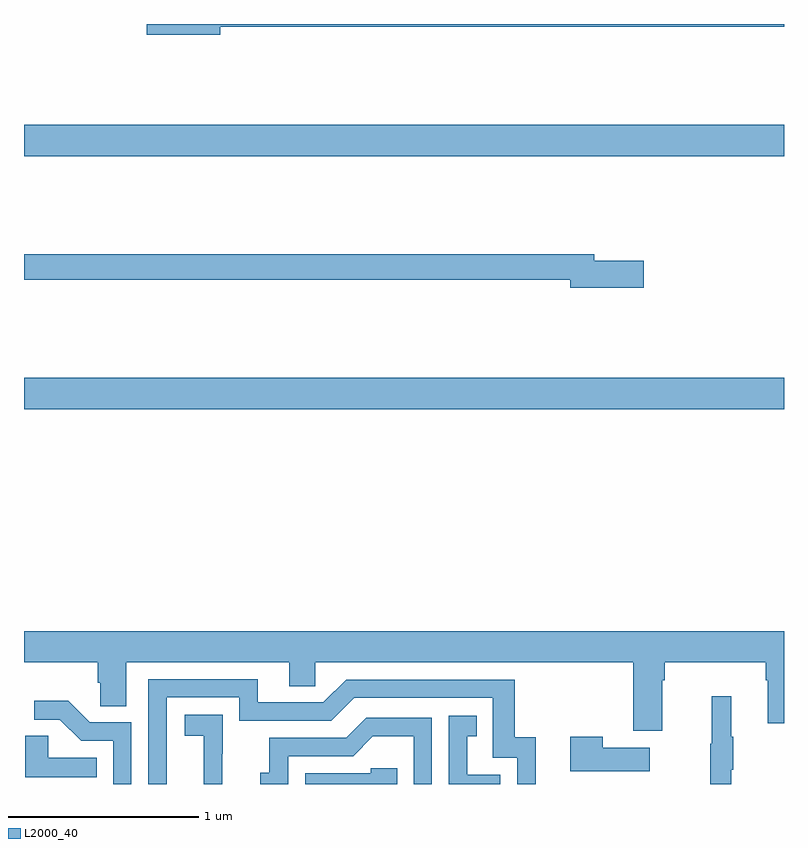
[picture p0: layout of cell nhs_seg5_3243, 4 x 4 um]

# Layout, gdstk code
import gdstk
lib = gdstk.Library(unit=1e-6, precision=1e-09)
def R(c, l, rs):  # rectangles x0, y0, x1, y1
    for r in rs: c.add(gdstk.rectangle(r[:2], r[2:], *l))
def P(c, l, *ps):  # polygons
    for p in ps: c.add(gdstk.Polygon(p, *l))
L2000_40 = (2000, 40)

nhs_seg5_3243 = lib.new_cell('nhs_seg5_3243')
R(nhs_seg5_3243, L2000_40, [(299,844.772,303,844.936), (299,846.104,303,846.268)])
P(nhs_seg5_3243, L2000_40, [(300.034,846.784),(303,846.784),(303,846.799),(299.646,846.799),(299.646,846.742),(300.034,846.742)],
  [(302.263,845.552),(302.002,845.552),(302.002,845.588),(299,845.588),(299,845.452),(301.874,845.452),(301.874,845.41),(302.263,845.41)],
  [(302.359,843.344),(302.372,843.344),(302.372,843.44),(302.903,843.44),(302.903,843.344),(302.915,843.344),(302.915,843.12),(303,843.12),(303,843.604),(299,843.604),(299,843.44),(299.387,843.44),(299.387,843.331),(299.4,843.331),(299.4,843.208),(299.539,843.208),(299.539,843.44),(300.395,843.44),(300.395,843.313),(300.534,843.313),(300.534,843.44),(302.207,843.44),(302.207,843.078),(302.359,843.078)],
  [(299.751,843.255),(300.132,843.255),(300.132,843.132),(300.618,843.132),(300.738,843.252),(301.467,843.252),(301.467,842.937),(301.596,842.937),(301.596,842.799),(301.694,842.799),(301.694,843.046),(301.583,843.046),(301.583,843.348),(300.696,843.348),(300.576,843.228),(300.229,843.228),(300.229,843.351),(299.655,843.351),(299.655,842.799),(299.751,842.799)],
  [(302.723,842.875),(302.734,842.875),(302.734,843.049),(302.723,843.049),(302.723,843.262),(302.62,843.262),(302.62,843.012),(302.613,843.012),(302.613,842.799),(302.723,842.799)],
  [(299.565,843.123),(299.346,843.123),(299.233,843.236),(299.055,843.236),(299.055,843.138),(299.189,843.138),(299.3,843.027),(299.469,843.027),(299.469,842.799),(299.565,842.799)],
  [(300.044,842.957),(300.045,842.957),(300.045,843.163),(299.847,843.163),(299.847,843.053),(299.945,843.053),(299.945,842.825),(299.946,842.825),(299.946,842.799),(300.044,842.799)],
  [(301.506,842.847),(301.333,842.847),(301.333,843.051),(301.382,843.051),(301.382,843.157),(301.236,843.157),(301.236,842.799),(301.506,842.799)],
  [(300.39,842.946),(300.732,842.946),(300.836,843.05),(301.05,843.05),(301.05,842.799),(301.146,842.799),(301.146,843.147),(300.8,843.147),(300.695,843.042),(300.292,843.042),(300.292,842.857),(300.243,842.857),(300.243,842.799),(300.39,842.799)],
  [(299.384,842.938),(299.127,842.938),(299.127,843.053),(299.006,843.053),(299.006,842.834),(299.384,842.834)],
  [(302.293,842.989),(302.045,842.989),(302.045,843.049),(301.874,843.049),(301.874,842.867),(302.293,842.867)],
  [(300.965,842.883),(300.825,842.883),(300.825,842.856),(300.48,842.856),(300.48,842.799),(300.965,842.799)])

lib.write_gds('nhs_seg5_3243.gds')
